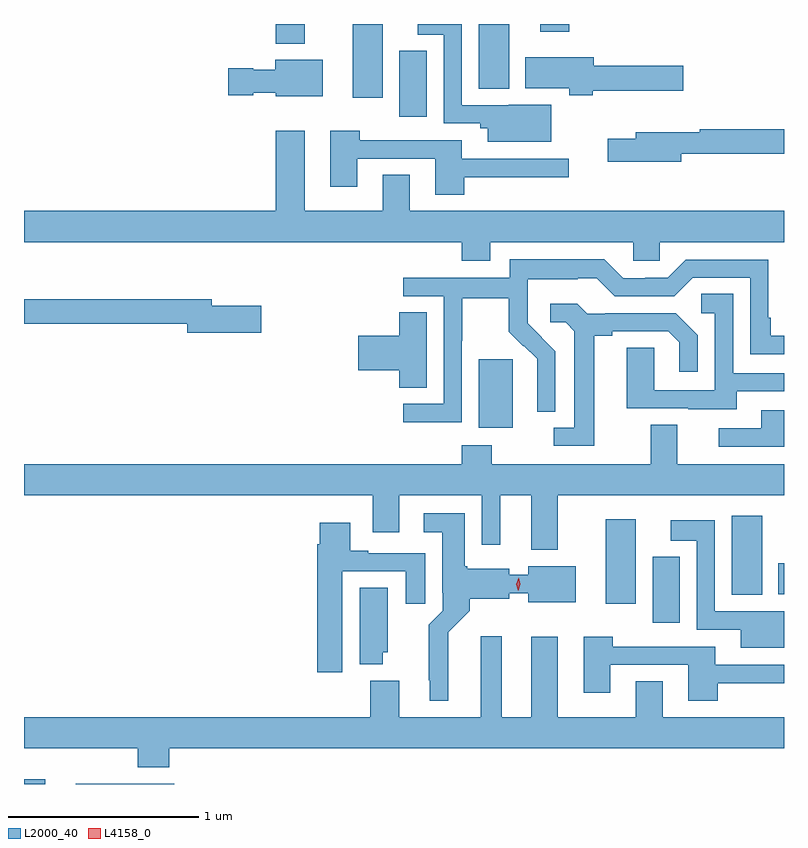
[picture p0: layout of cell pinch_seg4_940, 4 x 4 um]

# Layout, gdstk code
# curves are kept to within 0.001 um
import gdstk
lib = gdstk.Library(unit=1e-6, precision=1e-09)
def R(c, l, rs):  # rectangles x0, y0, x1, y1
    for r in rs: c.add(gdstk.rectangle(r[:2], r[2:], *l))
def P(c, l, *ps):  # polygons
    for p in ps: c.add(gdstk.Polygon(p, *l))
L2000_40 = (2000, 40)
L4158_0 = (4158, 0)

pinch_seg4_940 = lib.new_cell('pinch_seg4_940')
R(pinch_seg4_940, L2000_40, [(709.716,783.312,709.828,783.337), (709.989,783.312,710.507,783.314), (713.024,784.161,713.167,784.507), (712.778,784.26,712.936,784.705), (713.441,784.307,713.602,784.723), (713.687,784.31,713.716,784.474), (712.109,785.186,712.288,785.547), (711.692,786.825,711.835,787.171), (711.446,786.924,711.604,787.312), (712.109,786.971,712.27,787.312), (711.041,787.208,711.193,787.312), (712.433,787.272,712.586,787.312)])
P(pinch_seg4_940, L2000_40, [(712.492,786.886),(712.266,786.886),(712.266,786.885),(712.02,786.885),(712.02,787.312),(711.789,787.312),(711.789,787.256),(711.924,787.256),(711.924,786.789),(712.116,786.789),(712.116,786.764),(712.157,786.764),(712.157,786.692),(712.492,786.692)],
  [(712.71,786.962),(713.185,786.962),(713.185,787.092),(712.714,787.092),(712.714,787.138),(712.355,787.138),(712.355,786.974),(712.585,786.974),(712.585,786.937),(712.71,786.937)],
  [(711.289,787.123),(711.038,787.123),(711.038,787.072),(710.922,787.072),(710.922,787.08),(710.79,787.08),(710.79,786.938),(710.922,786.938),(710.922,786.95),(711.042,786.95),(711.042,786.932),(711.289,786.932)],
  [(713.176,786.63),(713.716,786.63),(713.716,786.758),(713.272,786.758),(713.272,786.741),(712.937,786.741),(712.937,786.709),(712.788,786.709),(712.788,786.587),(713.176,786.587)],
  [(712.034,786.506),(712.582,786.506),(712.582,786.603),(712.021,786.603),(712.021,786.699),(711.482,786.699),(711.482,786.751),(711.329,786.751),(711.329,786.456),(711.469,786.456),(711.469,786.603),(711.881,786.603),(711.881,786.414),(712.034,786.414)],
  [(711.041,786.751),(711.041,786.328),(709.716,786.328),(709.716,786.164),(712.019,786.164),(712.019,786.065),(712.171,786.065),(712.171,786.164),(712.923,786.164),(712.923,786.066),(713.061,786.066),(713.061,786.164),(713.716,786.164),(713.716,786.328),(711.745,786.328),(711.745,786.518),(711.605,786.518),(711.605,786.328),(711.193,786.328),(711.193,786.751)],
  [(712.02,785.644),(712.023,785.644),(712.023,785.868),(712.267,785.868),(712.267,785.693),(712.344,785.616),(712.347,785.619),(712.418,785.549),(712.418,785.426),(712.416,785.426),(712.416,785.272),(712.512,785.272),(712.512,785.59),(712.366,785.738),(712.366,785.835),(712.368,785.835),(712.368,785.969),(712.631,785.969),(712.631,785.973),(712.731,785.973),(712.824,785.88),(713.139,785.88),(713.235,785.976),(713.538,785.976),(713.538,785.574),(713.716,785.574),(713.716,785.67),(713.647,785.67),(713.647,785.767),(713.634,785.767),(713.634,786.072),(713.199,786.072),(713.103,785.976),(712.985,785.976),(712.985,785.973),(712.869,785.973),(712.769,786.073),(712.272,786.073),(712.272,785.976),(711.711,785.976),(711.711,785.88),(711.924,785.88),(711.924,785.313),(711.711,785.313),(711.711,785.215),(712.02,785.215)],
  [(713.467,785.379),(713.716,785.379),(713.716,785.475),(713.448,785.475),(713.448,785.891),(713.28,785.891),(713.28,785.79),(713.352,785.79),(713.352,785.385),(713.034,785.385),(713.034,785.609),(712.889,785.609),(712.889,785.289),(713.213,785.289),(713.213,785.285),(713.467,785.285)],
  [(710.965,785.829),(710.704,785.829),(710.704,785.863),(709.716,785.863),(709.716,785.734),(710.576,785.734),(710.576,785.687),(710.965,785.687)],
  [(712.717,785.672),(712.813,785.672),(712.813,785.694),(713.108,785.694),(713.165,785.637),(713.165,785.481),(713.262,785.481),(713.262,785.674),(713.146,785.79),(712.774,785.79),(712.774,785.787),(712.68,785.787),(712.628,785.839),(712.485,785.839),(712.485,785.742),(712.566,785.742),(712.613,785.695),(712.613,785.187),(712.503,785.187),(712.503,785.091),(712.717,785.091)],
  [(711.835,785.795),(711.692,785.795),(711.692,785.672),(711.474,785.672),(711.474,785.489),(711.692,785.489),(711.692,785.398),(711.835,785.398)],
  [(713.716,785.28),(713.597,785.28),(713.597,785.184),(713.373,785.184),(713.373,785.088),(713.716,785.088)],
  [(712.525,784.832),(713.716,784.832),(713.716,784.996),(713.155,784.996),(713.155,785.204),(713.015,785.204),(713.015,784.996),(712.179,784.996),(712.179,785.095),(712.019,785.095),(712.019,784.996),(709.716,784.996),(709.716,784.832),(711.551,784.832),(711.551,784.638),(711.691,784.638),(711.691,784.832),(712.125,784.832),(712.125,784.572),(712.222,784.572),(712.222,784.832),(712.385,784.832),(712.385,784.544),(712.525,784.544)],
  [(711.949,784.112),(712.062,784.225),(712.062,784.286),(712.27,784.286),(712.27,784.315),(712.37,784.315),(712.37,784.268),(712.621,784.268),(712.621,784.459),(712.37,784.459),(712.37,784.414),(712.27,784.414),(712.27,784.444),(712.05,784.444),(712.05,784.458),(712.036,784.458),(712.036,784.738),(711.819,784.738),(711.819,784.637),(711.917,784.637),(711.917,784.318),(711.921,784.318),(711.921,784.224),(711.847,784.15),(711.847,783.859),(711.851,783.859),(711.851,783.749),(711.949,783.749)],
  [(713.716,784.222),(713.598,784.222),(713.598,784.221),(713.352,784.221),(713.352,784.699),(713.121,784.699),(713.121,784.592),(713.256,784.592),(713.256,784.125),(713.489,784.125),(713.489,784.028),(713.716,784.028)],
  [(711.391,784.431),(711.725,784.431),(711.725,784.26),(711.829,784.26),(711.829,784.527),(711.529,784.527),(711.529,784.54),(711.433,784.54),(711.433,784.687),(711.272,784.687),(711.272,784.574),(711.26,784.574),(711.26,783.9),(711.391,783.9)],
  [(711.604,784.005),(711.631,784.005),(711.631,784.346),(711.482,784.346),(711.482,783.941),(711.604,783.941)],
  [(713.716,783.664),(713.077,783.664),(713.077,783.854),(712.937,783.854),(712.937,783.664),(712.525,783.664),(712.525,784.087),(712.385,784.087),(712.385,783.664),(712.231,783.664),(712.231,784.09),(712.121,784.09),(712.121,783.664),(711.691,783.664),(711.691,783.856),(711.539,783.856),(711.539,783.664),(709.716,783.664),(709.716,783.5),(710.315,783.5),(710.315,783.401),(710.48,783.401),(710.48,783.5),(713.716,783.5)],
  [(713.366,783.842),(713.716,783.842),(713.716,783.939),(713.353,783.939),(713.353,784.035),(712.814,784.035),(712.814,784.087),(712.661,784.087),(712.661,783.792),(712.801,783.792),(712.801,783.939),(713.213,783.939),(713.213,783.75),(713.366,783.75)])
P(pinch_seg4_940, L4158_0, [(712.317,784.329),(712.317,784.329),(712.308,784.364),(712.319,784.398),(712.319,784.398),(712.32,784.398),(712.328,784.364),(712.317,784.329)])

lib.write_gds('pinch_seg4_940.gds')
